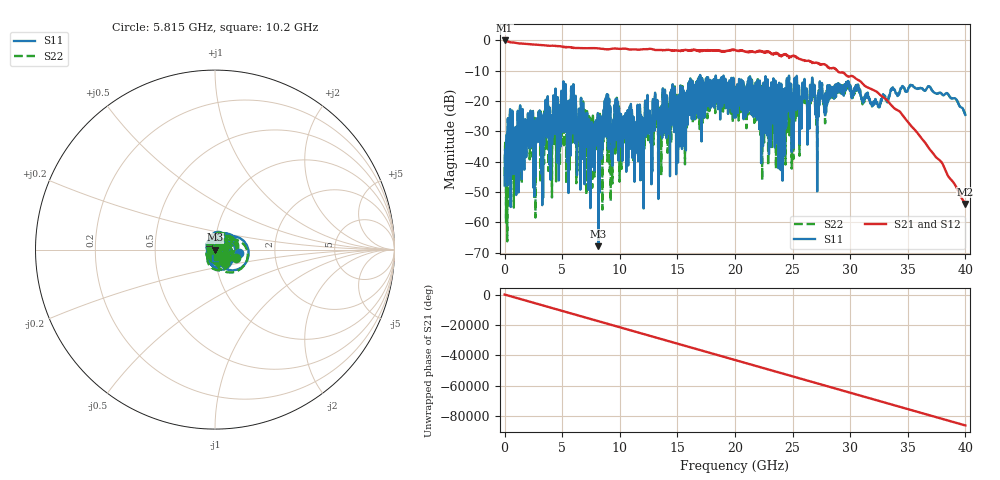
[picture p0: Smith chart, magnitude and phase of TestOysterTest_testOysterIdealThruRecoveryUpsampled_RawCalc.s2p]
# MHz MA S R 50.0
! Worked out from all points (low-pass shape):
!   8000 points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, 5 MHz to 40 GHz, reference 50 ohm
!   highest |S21| = 0.01 dB at 5 MHz (marker M1); lowest = -53.9 dB at 40 GHz (marker M2)
!   |S21| within 3 dB of the highest: start of sweep to 10.95 GHz; 11.79 GHz to 12.96 GHz (1.17 GHz wide, 9.46 % of centre) (the widest 2 of 5)
!   lowest |S11| = -67.9 dB at 8.145 GHz (marker M3), VSWR 1.00, Z = 50 - j0.0401 ohm
!   |S11| at or under -10 dB: start of sweep to end of sweep
!   |S22| runs from -66.3 to -11.6 dB; largest |S21 - S12| = 0.0017
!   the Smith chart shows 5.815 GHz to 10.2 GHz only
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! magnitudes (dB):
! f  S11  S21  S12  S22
! 5 MHz  -47.9  0.0  0.0  -44.6
! 490 MHz  -22.9  -0.6  -0.6  -22.9
! 3.99 GHz  -39.0  -1.7  -1.7  -30.1
! 5.115 GHz  -13.6  -2.2  -2.2  -13.9
! 5.545 GHz  -45.9  -2.2  -2.2  -32.5
! 5.965 GHz  -14.9  -2.5  -2.5  -15.0
! 6.4 GHz  -31.1  -2.4  -2.4  -32.1
! 6.675 GHz  -22.8  -2.5  -2.5  -24.6
! 8.145 GHz  -67.9  -2.6  -2.6  -40.6
! 8.885 GHz  -17.7  -3.0  -3.0  -17.9
! 9.315 GHz  -35.2  -2.7  -2.7  -33.8
! 9.74 GHz  -19.4  -2.7  -2.7  -19.1
! 13.34 GHz  -31.6  -3.1  -3.1  -49.0
! 16.12 GHz  -12.7  -3.4  -3.4  -12.6
! 20 GHz  -17.6  -3.2  -3.2  -18.4
! 24.25 GHz  -32.1  -4.5  -4.5  -25.2
! 26.67 GHz  -15.7  -7.3  -7.3  -15.7
! 27.13 GHz  -37.5  -7.4  -7.4  -34.2
! 29.74 GHz  -13.6  -11.8  -11.8  -13.8
! 33.34 GHz  -18.5  -20.3  -20.3  -19.1
! 36.85 GHz  -15.1  -35.6  -35.6  -15.1
! 40 GHz  -24.6  -53.9  -53.9  -24.6
